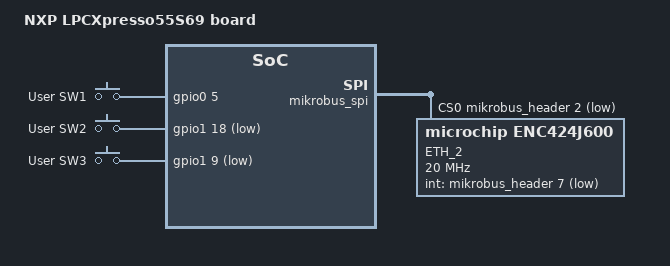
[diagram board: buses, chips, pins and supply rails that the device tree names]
/*
 * Copyright (C) 2020, NXP
 *
 * SPDX-License-Identifier: Apache-2.0
 */


/ {
	model = "NXP LPCXpresso55S69 board";
	compatible = "nxp,lpc55xxx", "nxp,lpc";

	cpus {
		/delete-node/ cpu@1;
	};

	aliases{
		sw0 = &user_button_1;
		sw1 = &user_button_2;
		sw2 = &user_button_3;
	};

	chosen {
		zephyr,sram = &secure_ram;
		zephyr,flash = &flash0;
		zephyr,code-partition = &slot0_partition;
		// zephyr,code-cpu1-partition = &slot1_partition;
		// zephyr,sram-cpu1-partition = &sram3;
		zephyr,console = &flexcomm0;
		zephyr,shell-uart = &flexcomm0;
		zephyr,entropy = &rng;
	};

	gpio_keys {
		compatible = "gpio-keys";
		user_button_1: button_0 {
			label = "User SW1";
			gpios = <&gpio0 5 GPIO_ACTIVE_HIGH>;
		};
		user_button_2: button_1 {
			label = "User SW2";
			gpios = <&gpio1 18 GPIO_ACTIVE_LOW>;
		};
		user_button_3: button_2 {
			label = "User SW3";
			gpios = <&gpio1 9 GPIO_ACTIVE_LOW>;
		};
	};
};

/delete-node/ &boot_partition;
/delete-node/ &slot0_partition;
/delete-node/ &slot1_partition;
/delete-node/ &slot2_partition;
/delete-node/ &slot3_partition;
// /delete-node/ &scratch_partition;
/delete-node/ &storage_partition;

&flash0 {

	partitions {
		compatible = "fixed-partitions";
		#address-cells = <1>;
		#size-cells = <1>;
		/* Please enable mcuboot's swap move, no scratch */

		boot_partition: partition@0 {
			label = "mcuboot";
			reg = <0x00000000 0x0000A000>;
			read-only;
		};
		slot0_partition: partition@A000 {
			label = "image-0";
			reg = <0x0000A000 0x00038000>;
		};
		slot1_partition: partition@42000 {
			label = "image-1";
			reg = <0x00042000 0x00038000>;
		};
		// slot2_partition: partition@48000 {
		// 	label = "image-2";
		// 	reg = <0x00048000 0x00028000>;
		// };
		// slot3_partition: partition@70000 {
		// 	label = "image-3";
		// 	reg = <0x00070000 0x00018000>;
		// };
		scratch_partition: partition@88000  {
			label = "image-scratch";
			reg = <0x00088000 0x00004000>;
		};
		/*
		 * The flash starting at 0x8C000 and ending at
		 * 0x949FF is reserved for the application.
		 */
		storage_partition: partition@8C000 {
			label = "storage";
			reg = <0x0008C000 0x00009400>;
		};
	};
};


// /delete-node/ &eth_click;

&mikrobus_spi {
	status = "okay";
	/* LPCXpresso55xxx boards all use SSEL1. */

	// eth_click: eth_click@1 {
	// 	compatible = "microchip,enc28j60";
	// 	reg = <1>;
	// 	local-mac-address = [01 01 01 01 02 03];
	// 	/* Errata B7/1 specifies min 8Mhz, 20MHz max according to RM */
	// 	spi-max-frequency = <10000000>;
	// 	int-gpios = <&mikrobus_header 7 GPIO_ACTIVE_LOW>;	/* INT */
	// 	// cs-gpios = <&mikrobus_header 2 GPIO_ACTIVE_LOW>;	/* CS */
	// 	label = "ETH_CLICK";
	// };

	cs-gpios = <&mikrobus_header 2 GPIO_ACTIVE_LOW>;

	enc424j600@0 {
		status = "okay";
		compatible = "microchip,enc424j600";
		reg = <0>;
		spi-max-frequency = <20000000>;
		int-gpios = <&mikrobus_header 7 GPIO_ACTIVE_LOW>;	/* INT */
		label = "ETH_2";
	};
};
